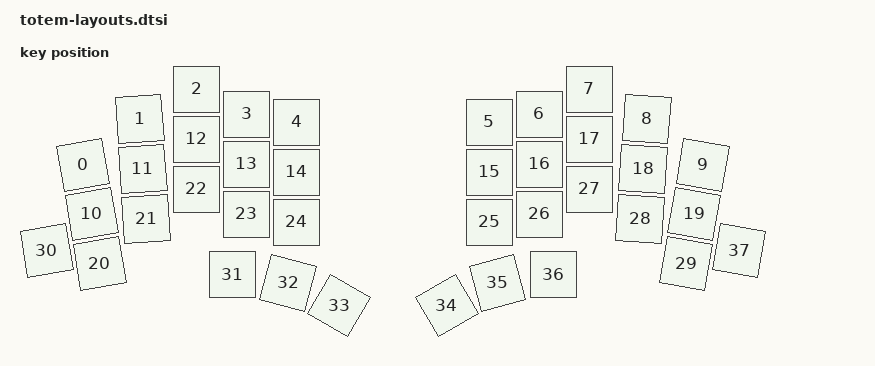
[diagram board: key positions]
#include <physical_layouts.dtsi>

/ {
    physical_layout_totem: physical_layout_totem {
        compatible = "zmk,physical-layout";
        display-name = "Totem";

        keys  //                     w   h    x    y     rot    rx    ry
            = <&key_physical_attrs 100 100   73  152 (-1000)   123   202>
            , <&key_physical_attrs 100 100  186   60  (-400)   236   110>
            , <&key_physical_attrs 100 100  300    0       0     0     0>
            , <&key_physical_attrs 100 100  400   50       0     0     0>
            , <&key_physical_attrs 100 100  500   66       0     0     0>
            , <&key_physical_attrs 100 100  885   66       0     0     0>
            , <&key_physical_attrs 100 100  985   50       0     0     0>
            , <&key_physical_attrs 100 100 1085    0       0     0     0>
            , <&key_physical_attrs 100 100 1200   60     400  1250   110>
            , <&key_physical_attrs 100 100 1312  152    1000  1362   202>
            , <&key_physical_attrs 100 100   90  250 (-1000)   140   300>
            , <&key_physical_attrs 100 100  192  160  (-400)   242   210>
            , <&key_physical_attrs 100 100  300  100       0     0     0>
            , <&key_physical_attrs 100 100  400  150       0     0     0>
            , <&key_physical_attrs 100 100  500  166       0     0     0>
            , <&key_physical_attrs 100 100  885  166       0     0     0>
            , <&key_physical_attrs 100 100  985  150       0     0     0>
            , <&key_physical_attrs 100 100 1085  100       0     0     0>
            , <&key_physical_attrs 100 100 1193  160     400  1243   210>
            , <&key_physical_attrs 100 100 1295  250    1000  1345   300>
            , <&key_physical_attrs 100 100  106  349 (-1000)   156   399>
            , <&key_physical_attrs 100 100  199  260  (-400)   249   310>
            , <&key_physical_attrs 100 100  300  200       0     0     0>
            , <&key_physical_attrs 100 100  400  250       0     0     0>
            , <&key_physical_attrs 100 100  500  266       0     0     0>
            , <&key_physical_attrs 100 100  885  266       0     0     0>
            , <&key_physical_attrs 100 100  985  250       0     0     0>
            , <&key_physical_attrs 100 100 1085  200       0     0     0>
            , <&key_physical_attrs 100 100 1187  260     400  1237   310>
            , <&key_physical_attrs 100 100 1279  349    1000  1329   399>
            , <&key_physical_attrs 100 100    0  323 (-1000)    50   373>
            , <&key_physical_attrs 100 100  372  371       0     0     0>
            , <&key_physical_attrs 100 100  483  388    1500   533   438>
            , <&key_physical_attrs 100 100  585  433    3000   635   483>
            , <&key_physical_attrs 100 100  800  433 (-3000)   850   483>
            , <&key_physical_attrs 100 100  902  388 (-1500)   952   438>
            , <&key_physical_attrs 100 100 1013  371       0     0     0>
            , <&key_physical_attrs 100 100 1385  323    1000  1435   373>
            ;
    };
};
